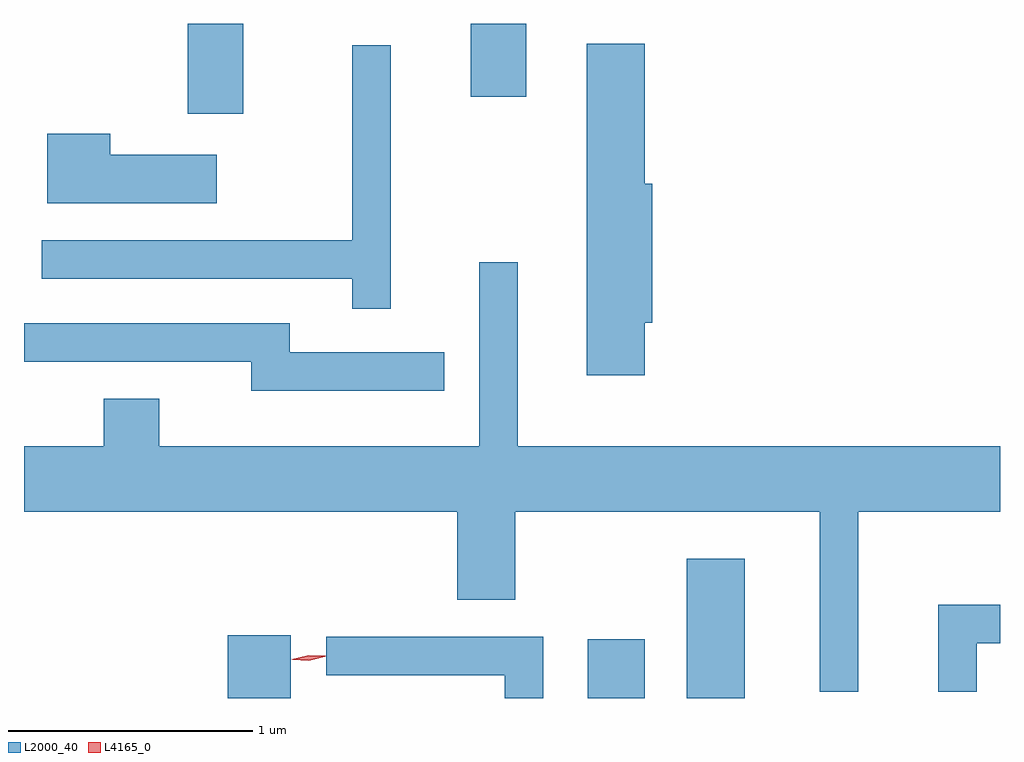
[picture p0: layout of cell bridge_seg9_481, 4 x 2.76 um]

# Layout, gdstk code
import gdstk
lib = gdstk.Library(unit=1e-6, precision=1e-09)
def R(c, l, rs):  # rectangles x0, y0, x1, y1
    for r in rs: c.add(gdstk.rectangle(r[:2], r[2:], *l))
def P(c, l, *ps):  # polygons
    for p in ps: c.add(gdstk.Polygon(p, *l))
L2000_40 = (2000, 40)
L4165_0 = (4165, 0)

bridge_seg9_481 = lib.new_cell('bridge_seg9_481')
R(bridge_seg9_481, L2000_40, [(539.016,1944.432,539.274,1944.689), (540.491,1944.432,540.724,1944.674), (540.896,1944.432,541.134,1945.004), (538.851,1946.826,539.079,1947.195), (540.011,1946.896,540.239,1947.195)])
P(bridge_seg9_481, L2000_40, [(540.724,1945.971),(540.754,1945.971),(540.754,1946.539),(540.724,1946.539),(540.724,1947.114),(540.486,1947.114),(540.486,1945.756),(540.724,1945.756)],
  [(539.684,1947.108),(539.526,1947.108),(539.526,1946.309),(538.253,1946.309),(538.253,1946.151),(539.526,1946.151),(539.526,1946.028),(539.684,1946.028)],
  [(538.969,1946.659),(538.534,1946.659),(538.534,1946.744),(538.276,1946.744),(538.276,1946.461),(538.969,1946.461)],
  [(541.599,1945.196),(542.18,1945.196),(542.18,1945.464),(540.204,1945.464),(540.204,1946.218),(540.046,1946.218),(540.046,1945.464),(538.734,1945.464),(538.734,1945.659),(538.506,1945.659),(538.506,1945.464),(538.18,1945.464),(538.18,1945.196),(539.956,1945.196),(539.956,1944.836),(540.194,1944.836),(540.194,1945.196),(541.441,1945.196),(541.441,1944.458),(541.599,1944.458)],
  [(539.903,1945.849),(539.269,1945.849),(539.269,1945.969),(538.18,1945.969),(538.18,1945.811),(539.111,1945.811),(539.111,1945.691),(539.903,1945.691)],
  [(542.084,1944.656),(542.18,1944.656),(542.18,1944.814),(541.926,1944.814),(541.926,1944.458),(542.084,1944.458)],
  [(540.309,1944.684),(539.418,1944.684),(539.418,1944.526),(540.151,1944.526),(540.151,1944.432),(540.309,1944.432)])
P(bridge_seg9_481, L4165_0, [(539.347,1944.588),(539.278,1944.591),(539.278,1944.592),(539.278,1944.592),(539.346,1944.608),(539.415,1944.605),(539.416,1944.604),(539.415,1944.604)],
  [(539.347,1944.586),(539.281,1944.589),(539.28,1944.589),(539.281,1944.59),(539.346,1944.606),(539.412,1944.602),(539.412,1944.602),(539.412,1944.601)])

lib.write_gds('bridge_seg9_481.gds')
